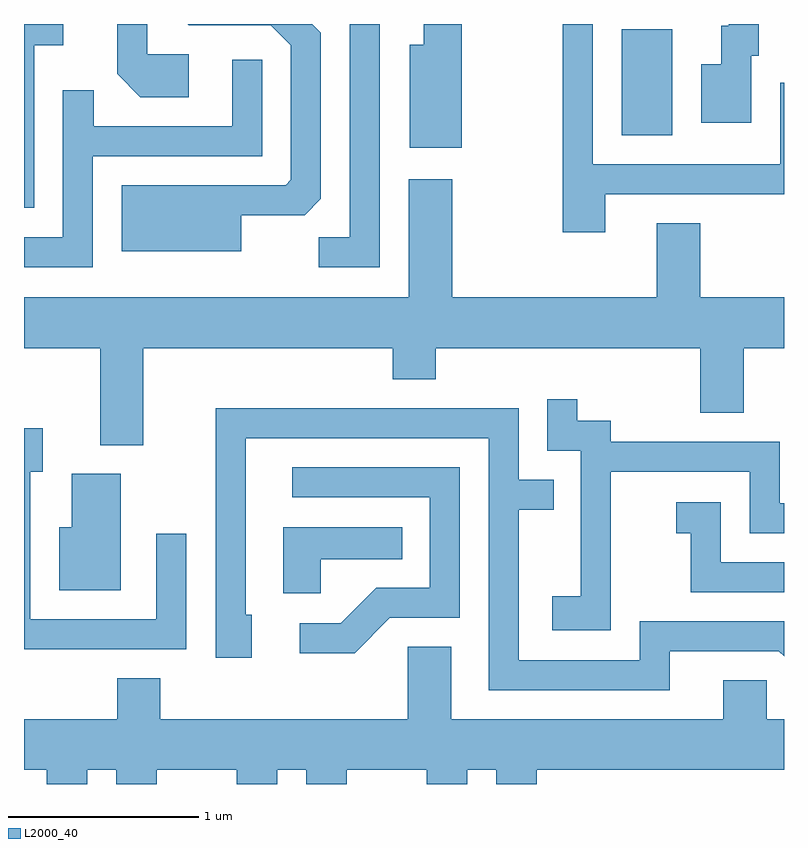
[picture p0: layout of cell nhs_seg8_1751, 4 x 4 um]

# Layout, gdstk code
import gdstk
lib = gdstk.Library(unit=1e-6, precision=1e-09)
def R(c, l, rs):  # rectangles x0, y0, x1, y1
    for r in rs: c.add(gdstk.rectangle(r[:2], r[2:], *l))
def P(c, l, *ps):  # polygons
    for p in ps: c.add(gdstk.Polygon(p, *l))
L2000_40 = (2000, 40)

nhs_seg8_1751 = lib.new_cell('nhs_seg8_1751')
R(nhs_seg8_1751, L2000_40, [(240.756,1839.756,241.024,1840.314)])
P(nhs_seg8_1751, L2000_40, [(237.664,1840.231),(237.818,1840.231),(237.818,1840.342),(237.611,1840.342),(237.611,1839.376),(237.664,1839.376)],
  [(240.669,1839.446),(241.611,1839.446),(241.611,1840.033),(241.591,1840.033),(241.591,1839.604),(240.604,1839.604),(240.604,1840.342),(240.446,1840.342),(240.446,1839.246),(240.669,1839.246)],
  [(241.439,1840.176),(241.479,1840.176),(241.479,1840.342),(241.321,1840.342),(241.321,1840.334),(241.281,1840.334),(241.281,1840.129),(241.176,1840.129),(241.176,1839.821),(241.439,1839.821)],
  [(239.914,1840.342),(239.716,1840.342),(239.716,1840.234),(239.641,1840.234),(239.641,1839.691),(239.914,1839.691)],
  [(238.479,1840.184),(238.259,1840.184),(238.259,1840.342),(238.101,1840.342),(238.101,1840.079),(238.224,1839.956),(238.479,1839.956)],
  [(238.754,1839.336),(239.089,1839.336),(239.174,1839.422),(239.174,1840.297),(239.129,1840.342),(238.473,1840.342),(238.479,1840.336),(238.909,1840.336),(239.016,1840.229),(239.016,1839.522),(238.989,1839.494),(238.126,1839.494),(238.126,1839.146),(238.754,1839.146)],
  [(239.484,1840.342),(239.326,1840.342),(239.326,1839.219),(239.163,1839.219),(239.163,1839.061),(239.484,1839.061)],
  [(237.974,1839.646),(238.864,1839.646),(238.864,1840.153),(238.706,1840.153),(238.706,1839.804),(237.979,1839.804),(237.979,1839.993),(237.816,1839.993),(237.816,1839.219),(237.611,1839.219),(237.611,1839.061),(237.974,1839.061)],
  [(241.169,1839.294),(240.941,1839.294),(240.941,1838.904),(239.864,1838.904),(239.864,1839.524),(239.636,1839.524),(239.636,1838.904),(237.611,1838.904),(237.611,1838.636),(238.011,1838.636),(238.011,1838.126),(238.239,1838.126),(238.239,1838.636),(239.551,1838.636),(239.551,1838.471),(239.779,1838.471),(239.779,1838.636),(241.171,1838.636),(241.171,1838.296),(241.399,1838.296),(241.399,1838.636),(241.611,1838.636),(241.611,1838.904),(241.169,1838.904)],
  [(240.699,1837.986),(241.431,1837.986),(241.431,1837.661),(241.611,1837.661),(241.611,1837.819),(241.589,1837.819),(241.589,1838.144),(240.699,1838.144),(240.699,1838.254),(240.524,1838.254),(240.524,1838.368),(240.366,1838.368),(240.366,1838.096),(240.541,1838.096),(240.541,1837.329),(240.391,1837.329),(240.391,1837.151),(240.699,1837.151)],
  [(241.009,1837.041),(241.584,1837.041),(241.611,1837.014),(241.611,1837.199),(240.851,1837.199),(240.851,1836.994),(240.214,1836.994),(240.214,1837.786),(240.398,1837.786),(240.398,1837.944),(240.214,1837.944),(240.214,1838.319),(238.621,1838.319),(238.621,1837.006),(238.809,1837.006),(238.809,1837.234),(238.779,1837.234),(238.779,1838.161),(240.056,1838.161),(240.056,1836.836),(241.009,1836.836)],
  [(238.464,1837.658),(238.306,1837.658),(238.306,1837.209),(237.644,1837.209),(237.644,1837.986),(237.709,1837.986),(237.709,1838.214),(237.611,1838.214),(237.611,1837.051),(238.464,1837.051)],
  [(239.537,1837.216),(239.904,1837.216),(239.904,1838.009),(239.023,1838.009),(239.023,1837.851),(239.746,1837.851),(239.746,1837.374),(239.464,1837.374),(239.279,1837.189),(239.063,1837.189),(239.063,1837.031),(239.352,1837.031)],
  [(238.119,1837.974),(237.861,1837.974),(237.861,1837.694),(237.796,1837.694),(237.796,1837.361),(238.119,1837.361)],
  [(241.611,1837.509),(241.279,1837.509),(241.279,1837.824),(241.043,1837.824),(241.043,1837.661),(241.121,1837.661),(241.121,1837.351),(241.611,1837.351)],
  [(239.174,1837.526),(239.603,1837.526),(239.603,1837.694),(238.976,1837.694),(238.976,1837.346),(239.174,1837.346)],
  [(241.291,1836.889),(241.291,1836.684),(239.859,1836.684),(239.859,1837.064),(239.631,1837.064),(239.631,1836.684),(238.329,1836.684),(238.329,1836.899),(238.101,1836.899),(238.101,1836.684),(237.611,1836.684),(237.611,1836.416),(237.731,1836.416),(237.731,1836.342),(237.944,1836.342),(237.944,1836.416),(238.096,1836.416),(238.096,1836.342),(238.309,1836.342),(238.309,1836.416),(238.731,1836.416),(238.731,1836.342),(238.944,1836.342),(238.944,1836.416),(239.096,1836.416),(239.096,1836.342),(239.309,1836.342),(239.309,1836.416),(239.731,1836.416),(239.731,1836.342),(239.944,1836.342),(239.944,1836.416),(240.096,1836.416),(240.096,1836.342),(240.309,1836.342),(240.309,1836.416),(241.611,1836.416),(241.611,1836.684),(241.519,1836.684),(241.519,1836.889)])

lib.write_gds('nhs_seg8_1751.gds')
